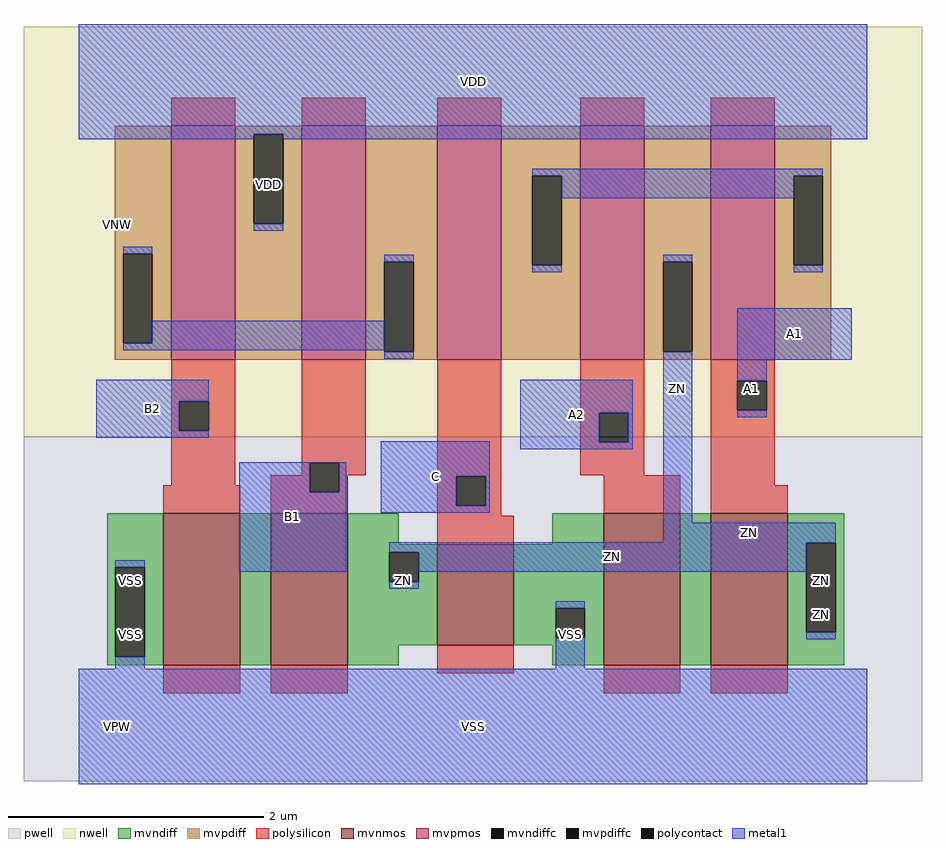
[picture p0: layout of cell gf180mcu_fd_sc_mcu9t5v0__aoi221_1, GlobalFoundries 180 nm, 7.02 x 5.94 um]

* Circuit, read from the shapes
.subckt gf180mcu_fd_sc_mcu9t5v0__aoi221_1 A1 A2 B1 B2 C ZN VDD VNW VPW VSS
XM1 n1 B2 VSS VPW nfet_06v0 w=1.185u l=0.6u
XM2 ZN B1 n1 VPW nfet_06v0 w=1.185u l=0.6u
XM3 VSS C ZN VPW nfet_06v0 w=0.79u l=0.6u
XM4 n2 A2 VSS VPW nfet_06v0 w=1.185u l=0.6u
XM5 ZN A1 n2 VPW nfet_06v0 w=1.185u l=0.6u
XM6 VDD B2 n3 VNW pfet_06v0 w=1.83u l=0.5u
XM7 n3 B1 VDD VNW pfet_06v0 w=1.83u l=0.5u
XM8 n4 C n3 VNW pfet_06v0 w=1.83u l=0.5u
XM9 ZN A2 n4 VNW pfet_06v0 w=1.83u l=0.5u
XM10 n4 A1 ZN VNW pfet_06v0 w=1.83u l=0.5u
.ends

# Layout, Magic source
magic
tech gf180mcuD
magscale 1 10
<< nwell >>
rect -86 453 1318 1094
<< pwell >>
rect -86 -86 1318 453
<< mvnmos >>
rect 132 96 252 333
rect 300 96 420 333
rect 560 127 680 285
rect 820 96 940 333
rect 988 96 1108 333
<< mvpmos >>
rect 144 573 244 939
rect 348 573 448 939
rect 560 573 660 939
rect 784 573 884 939
rect 988 573 1088 939
<< mvndiff >>
rect 44 249 132 333
rect 44 109 57 249
rect 103 109 132 249
rect 44 96 132 109
rect 252 96 300 333
rect 420 285 500 333
rect 740 285 820 333
rect 420 272 560 285
rect 420 226 485 272
rect 531 226 560 272
rect 420 127 560 226
rect 680 185 820 285
rect 680 139 745 185
rect 791 139 820 185
rect 680 127 820 139
rect 420 96 500 127
rect 740 96 820 127
rect 940 96 988 333
rect 1108 287 1196 333
rect 1108 147 1137 287
rect 1183 147 1196 287
rect 1108 96 1196 147
<< mvpdiff >>
rect 56 739 144 939
rect 56 599 69 739
rect 115 599 144 739
rect 56 573 144 599
rect 244 926 348 939
rect 244 786 273 926
rect 319 786 348 926
rect 244 573 348 786
rect 448 726 560 939
rect 448 586 477 726
rect 523 586 560 726
rect 448 573 560 586
rect 660 861 784 939
rect 660 721 709 861
rect 755 721 784 861
rect 660 573 784 721
rect 884 726 988 939
rect 884 586 913 726
rect 959 586 988 726
rect 884 573 988 586
rect 1088 861 1176 939
rect 1088 721 1117 861
rect 1163 721 1176 861
rect 1088 573 1176 721
<< mvndiffc >>
rect 57 109 103 249
rect 485 226 531 272
rect 745 139 791 185
rect 1137 147 1183 287
<< mvpdiffc >>
rect 69 599 115 739
rect 273 786 319 926
rect 477 586 523 726
rect 709 721 755 861
rect 913 586 959 726
rect 1117 721 1163 861
<< polysilicon >>
rect 144 939 244 983
rect 348 939 448 983
rect 560 939 660 983
rect 784 939 884 983
rect 988 939 1088 983
rect 144 508 244 573
rect 144 462 157 508
rect 203 462 244 508
rect 144 377 244 462
rect 348 412 448 573
rect 348 393 361 412
rect 132 333 252 377
rect 300 366 361 393
rect 407 393 448 412
rect 407 366 420 393
rect 300 333 420 366
rect 560 391 660 573
rect 784 490 884 573
rect 784 444 813 490
rect 859 444 884 490
rect 784 393 884 444
rect 988 540 1088 573
rect 988 494 1029 540
rect 1075 494 1088 540
rect 560 345 590 391
rect 636 345 660 391
rect 560 329 660 345
rect 820 333 940 393
rect 988 377 1088 494
rect 988 333 1108 377
rect 560 285 680 329
rect 132 52 252 96
rect 300 52 420 96
rect 560 83 680 127
rect 820 52 940 96
rect 988 52 1108 96
<< polycontact >>
rect 157 462 203 508
rect 361 366 407 412
rect 813 444 859 490
rect 1029 494 1075 540
rect 590 345 636 391
<< metal1 >>
rect 0 926 1232 1098
rect 0 918 273 926
rect 319 918 1232 926
rect 273 775 319 786
rect 709 861 1163 872
rect 69 739 115 750
rect 477 726 523 737
rect 115 599 477 634
rect 69 588 477 599
rect 755 826 1117 861
rect 709 710 755 721
rect 913 726 959 737
rect 477 575 523 586
rect 1117 710 1163 721
rect 27 508 203 542
rect 27 462 157 508
rect 27 451 203 462
rect 690 490 866 542
rect 251 412 418 413
rect 251 366 361 412
rect 407 366 418 412
rect 57 249 103 260
rect 251 242 418 366
rect 472 391 642 446
rect 690 444 813 490
rect 859 444 866 490
rect 690 433 866 444
rect 472 345 590 391
rect 636 345 642 391
rect 472 334 642 345
rect 913 318 959 586
rect 1029 573 1208 654
rect 1029 540 1075 573
rect 1029 483 1075 494
rect 913 288 1183 318
rect 485 287 1183 288
rect 485 272 1137 287
rect 531 242 1137 272
rect 485 215 531 226
rect 57 90 103 109
rect 745 185 791 196
rect 745 90 791 139
rect 1137 136 1183 147
rect 0 -90 1232 90
<< labels >>
flabel metal1 s 1029 573 1208 654 0 FreeSans 200 0 0 0 A1
port 1 nsew default input
flabel metal1 s 690 433 866 542 0 FreeSans 200 0 0 0 A2
port 2 nsew default input
flabel metal1 s 251 242 418 413 0 FreeSans 200 0 0 0 B1
port 3 nsew default input
flabel metal1 s 27 451 203 542 0 FreeSans 200 0 0 0 B2
port 4 nsew default input
flabel metal1 s 472 334 642 446 0 FreeSans 200 0 0 0 C
port 5 nsew default input
flabel metal1 s 0 918 1232 1098 0 FreeSans 200 0 0 0 VDD
port 7 nsew power bidirectional abutment
flabel metal1 s 57 196 103 260 0 FreeSans 200 0 0 0 VSS
port 10 nsew ground bidirectional abutment
flabel metal1 s 913 318 959 737 0 FreeSans 200 0 0 0 ZN
port 6 nsew default output
flabel nwell s 10 734 110 834 0 FreeSans 400 0 0 0 VNW
port 8 nsew power bidirectional
flabel pwell s 10 -50 110 50 0 FreeSans 400 0 0 0 VPW
port 9 nsew ground bidirectional
rlabel metal1 s 1029 483 1075 573 1 A1
port 1 nsew default input
rlabel metal1 s 913 288 1183 318 1 ZN
port 6 nsew default output
rlabel metal1 s 485 242 1183 288 1 ZN
port 6 nsew default output
rlabel metal1 s 1137 215 1183 242 1 ZN
port 6 nsew default output
rlabel metal1 s 485 215 531 242 1 ZN
port 6 nsew default output
rlabel metal1 s 1137 136 1183 215 1 ZN
port 6 nsew default output
rlabel metal1 s 273 775 319 918 1 VDD
port 7 nsew power bidirectional abutment
rlabel metal1 s 745 90 791 196 1 VSS
port 10 nsew ground bidirectional abutment
rlabel metal1 s 57 90 103 196 1 VSS
port 10 nsew ground bidirectional abutment
rlabel metal1 s 0 -90 1232 90 1 VSS
port 10 nsew ground bidirectional abutment
<< properties >>
string FIXED_BBOX 0 0 1232 1008
string GDS_END 1219418
string GDS_FILE $PDKPATH/libs.ref/gf180mcu_fd_sc_mcu9t5v0/gds/gf180mcu_fd_sc_mcu9t5v0.gds
string GDS_START 1215004
string LEFclass core
string LEFsite GF018hv5v_green_sc9
string LEFsymmetry X Y
<< end >>
